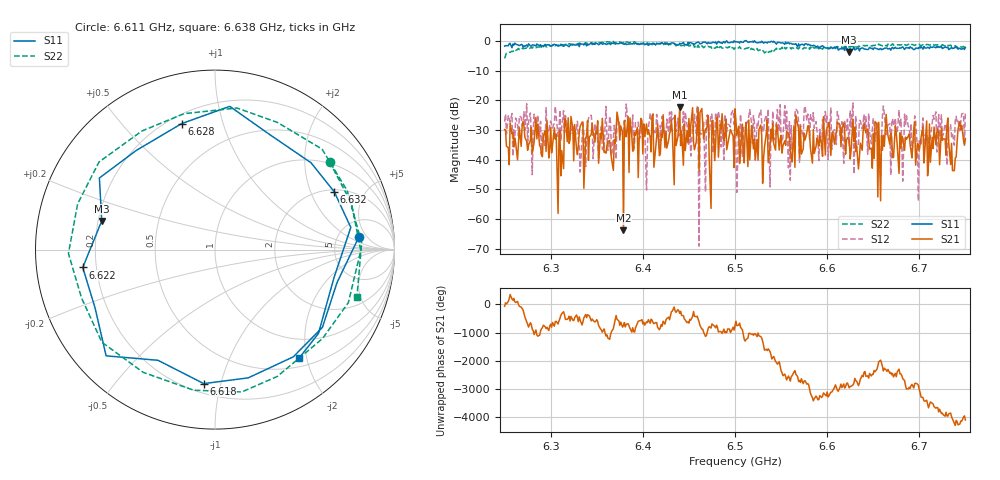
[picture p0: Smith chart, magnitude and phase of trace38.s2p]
# Hz S RI R 50
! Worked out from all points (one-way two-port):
!   401 points, 6.25 GHz to 6.75 GHz, reference 50 ohm
!   highest |S21| = -22.36 dB at 6.44 GHz (marker M1); lowest = -63.8 dB at 6.379 GHz (marker M2)
!   lowest |S11| = -3.7 dB at 6.624 GHz (marker M3), VSWR 4.73, Z = 10.7 + j5.95 ohm
!   |S11| at or under -10 dB: nowhere
!   |S22| runs from -5.9 to -0.1 dB; largest |S21 - S12| = 0.14
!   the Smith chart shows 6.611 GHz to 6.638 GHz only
!   S11 on the Smith chart (normalised r, x): 6.611 GHz: 7.97, +3.10; 6.618 GHz: 0.26, -0.89; 6.622 GHz: 0.15, -0.07; 6.628 GHz: 0.25, +0.74; 6.632 GHz: 2.10, +2.97; 6.638 GHz: 0.64, -1.86
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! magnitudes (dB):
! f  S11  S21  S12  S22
! 6.25 GHz  -1.7  -29.9  -27.2  -5.9
! 6.31 GHz  -1.6  -30.1  -23.2  -1.2
! 6.318 GHz  -1.4  -33.9  -30.2  -1.1
! 6.334 GHz  -1.1  -27.4  -33.4  -0.8
! 6.379 GHz  -1.0  -63.8  -30.0  -0.5
! 6.418 GHz  -0.9  -38.7  -36.3  -0.8
! 6.44 GHz  -0.7  -22.4  -31.4  -1.3
! 6.5 GHz  -0.4  -22.9  -26.1  -2.4
! 6.584 GHz  -1.6  -41.2  -27.0  -2.7
! 6.611 GHz  -1.9  -27.4  -23.8  -1.9
! 6.618 GHz  -2.5  -27.6  -41.2  -2.1
! 6.622 GHz  -2.6  -32.5  -26.4  -1.8
! 6.624 GHz  -3.7  -33.5  -35.2  -2.0
! 6.628 GHz  -2.8  -26.4  -20.9  -1.8
! 6.632 GHz  -2.6  -35.5  -35.1  -2.1
! 6.638 GHz  -2.3  -36.9  -29.6  -1.6
! 6.658 GHz  -2.5  -53.9  -45.9  -1.4
! 6.668 GHz  -2.5  -34.8  -27.9  -1.6
! 6.686 GHz  -2.3  -33.1  -25.1  -1.5
! 6.7 GHz  -2.0  -36.8  -33.6  -1.1
! 6.715 GHz  -2.0  -36.2  -25.1  -1.1
! 6.75 GHz  -2.1  -32.8  -23.7  -2.2
